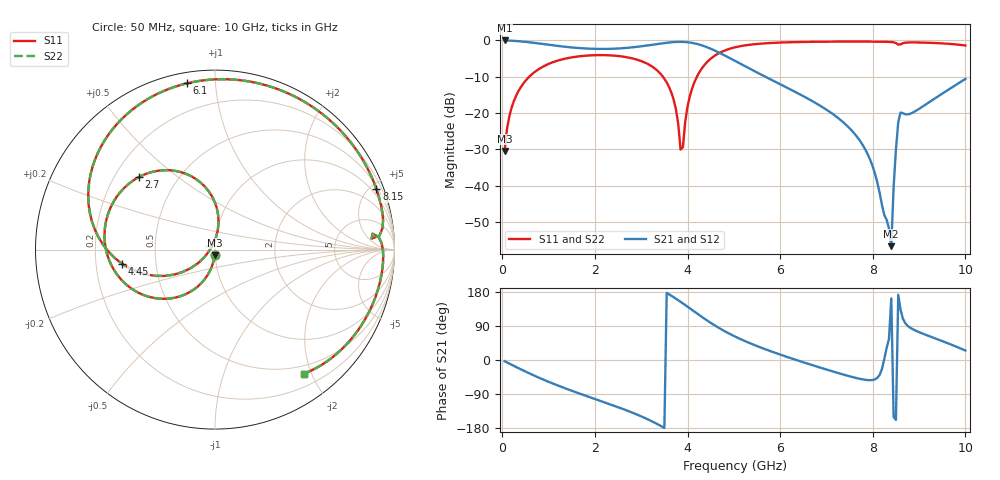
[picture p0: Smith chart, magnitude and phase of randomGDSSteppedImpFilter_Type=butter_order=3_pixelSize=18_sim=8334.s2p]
! freq	dB(S11)	phase(S11)	dB(S12)	phase(S12)
!  dB(S21)	phase(S21)	dB(S22)	phase(S22)
!S-par simulation data
#  GHz  S  DB  R 50
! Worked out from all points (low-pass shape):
!   200 points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, 50 MHz to 10 GHz, reference 50 ohm
!   highest |S21| = -0.01 dB at 50 MHz (marker M1); lowest = -56.7 dB at 8.4 GHz (marker M2)
!   |S21| within 3 dB of the highest: start of sweep to 4.624 GHz
!   lowest |S11| = -30.5 dB at 50 MHz (marker M3), VSWR 1.06, Z = 49.7 - j2.98 ohm
!   |S11| at or under -10 dB: start of sweep to 582.6 MHz; 3.468 GHz to 4.203 GHz (734.3 MHz wide, 19.1 % of centre)
!   |S22| runs from -30.5 to -0.3 dB; largest |S21 - S12| = 0
!   S11 on the Smith chart (normalised r, x): 50 MHz: 0.99, -0.06; 2.7 GHz: 0.30, +0.37; 4.45 GHz: 0.31, -0.07; 6.1 GHz: 0.05, +0.84; 8.15 GHz: 0.63, +5.45; 10 GHz: 0.38, -1.88
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0.05  -30.47 -93.3  -0.01 -3.2  -0.01 -3.2  -30.47 -93.3
0.2  -18.58 -102.9  -0.08 -12.5  -0.08 -12.5  -18.58 -102.9
0.5  -11.14 -121.0  -0.39 -30.5  -0.39 -30.5  -11.14 -120.9
1.75  -4.25 177.4  -2.18 -92.1  -2.18 -92.1  -4.25 177.4
2.7  -4.65 136.3  -2.04 -133.7  -2.04 -133.7  -4.65 136.3
3.4  -8.96 99.2  -0.89 -172.5  -0.89 -172.5  -8.96 99.3
3.7  -16.30 82.6  -0.45 165.8  -0.45 165.8  -16.30 82.7
3.85  -30.07 109.4  -0.39 153.6  -0.39 153.6  -29.99 109.9
4.1  -13.18 -145.3  -0.68 132.0  -0.68 132.0  -13.18 -145.4
4.45  -5.61 -171.4  -2.02 102.0  -2.02 102.0  -5.61 -171.4
5.05  -1.82 148.7  -5.80 60.5  -5.80 60.5  -1.82 148.6
6.1  -0.54 99.5  -12.70 10.1  -12.70 10.1  -0.54 99.5
6.7  -0.38 75.9  -16.75 -13.8  -16.75 -13.8  -0.38 75.9
7.7  -0.32 38.0  -27.22 -49.2  -27.22 -49.2  -0.32 38.0
8.15  -0.35 20.5  -42.11 -38.9  -42.11 -38.9  -0.35 20.5
8.35  -0.40 12.2  -51.78 55.7  -51.78 55.7  -0.40 12.2
8.4  -0.44 9.9  -56.65 162.5  -56.65 162.5  -0.44 9.9
8.45  -0.52 7.4  -40.37 -150.0  -40.37 -150.0  -0.52 7.4
8.5  -0.73 4.8  -30.06 -158.1  -30.06 -158.1  -0.73 4.8
8.6  -1.08 5.8  -19.84 132.4  -19.84 132.4  -1.09 5.8
9.2  -0.64 -19.2  -17.16 63.8  -17.16 63.8  -0.64 -19.2
10  -1.41 -54.5  -10.61 24.9  -10.61 24.9  -1.41 -54.5
